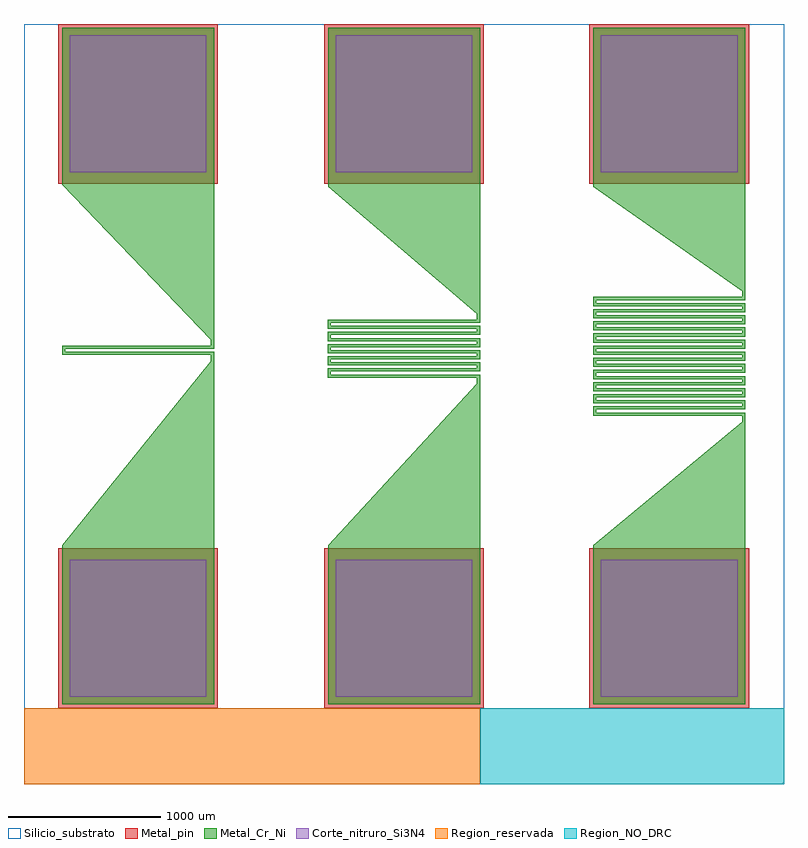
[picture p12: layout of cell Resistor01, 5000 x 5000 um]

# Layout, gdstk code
import gdstk
lib = gdstk.Library(unit=1e-6, precision=1e-06)
def R(c, l, rs):  # rectangles x0, y0, x1, y1
    for r in rs: c.add(gdstk.rectangle(r[:2], r[2:], *l))
def P(c, l, *ps):  # polygons
    for p in ps: c.add(gdstk.Polygon(p, *l))
Silicio_substrato = (1, 1)
Region_reservada = (1, 2)
Region_NO_DRC = (1, 3)
Metal_Cr_Ni = (2, 0)
Corte_nitruro_Si3N4 = (3, 0)
Metal_pin = (4, 0)

resistor01 = lib.new_cell('Resistor01')
R(resistor01, Silicio_substrato, [(0,0,5000,5000)])
R(resistor01, Region_reservada, [(0,0,3000,500)])
R(resistor01, Region_NO_DRC, [(3000,0,5000,500)])
P(resistor01, Metal_Cr_Ni, [(2000,525),(2000,1570),(2980,2633),(2980,2674),(1999,2674),(1999,2734),(2980,2734),(2980,2754),(1999,2754),(1999,2814),(2980,2814),(2980,2834),(1999,2834),(1999,2894),(2980,2894),(2980,2914),(1999,2914),(1999,2974),(2980,2974),(2980,2994),(1999,2994),(1999,3054),(2980,3054),(2980,3094),(2000,3930),(2000,4975),(3000,4975),(3000,3034),(2019,3034),(2019,3014),(3000,3014),(3000,2954),(2019,2954),(2019,2934),(3000,2934),(3000,2874),(2019,2874),(2019,2854),(3000,2854),(3000,2794),(2019,2794),(2019,2774),(3000,2774),(3000,2714),(2019,2714),(2019,2694),(3000,2694),(3000,525)],
  [(3745,525),(3745,1570),(4725,2384),(4725,2424),(3745,2424),(3745,2484),(4725,2484),(4725,2504),(3745,2504),(3745,2564),(4725,2564),(4725,2584),(3745,2584),(3745,2644),(4725,2644),(4725,2664),(3745,2664),(3745,2724),(4725,2724),(4725,2744),(3745,2744),(3745,2804),(4725,2804),(4725,2824),(3745,2824),(3745,2884),(4725,2884),(4725,2904),(3745,2904),(3745,2964),(4725,2964),(4725,2984),(3745,2984),(3745,3044),(4725,3044),(4725,3064),(3745,3064),(3745,3124),(4725,3124),(4725,3144),(3745,3144),(3745,3204),(4725,3204),(4725,3243),(3745,3930),(3745,4975),(4745,4975),(4745,3184),(3765,3184),(3765,3164),(4745,3164),(4745,3104),(3765,3104),(3765,3084),(4745,3084),(4745,3024),(3765,3024),(3765,3004),(4745,3004),(4745,2944),(3765,2944),(3765,2924),(4745,2924),(4745,2864),(3765,2864),(3765,2844),(4745,2844),(4745,2784),(3765,2784),(3765,2764),(4745,2764),(4745,2704),(3765,2704),(3765,2684),(4745,2684),(4745,2624),(3765,2624),(3765,2604),(4745,2604),(4745,2544),(3765,2544),(3765,2524),(4745,2524),(4745,2464),(3765,2464),(3765,2444),(4745,2444),(4745,525)],
  [(250,525),(250,1570),(1230,2782),(1230,2824),(250,2824),(250,2884),(1230,2884),(1230,2923),(250,3942),(250,4975),(1250,4975),(1250,2864),(270,2864),(270,2844),(1250,2844),(1250,525)])
R(resistor01, Corte_nitruro_Si3N4, [(300,575,1200,1475), (300,575,1200,1475), (2050,575,2950,1475), (2050,575,2950,1475), (3795,575,4695,1475), (3795,575,4695,1475), (300,4025,1200,4925), (300,4025,1200,4925), (2050,4025,2950,4925), (2050,4025,2950,4925), (3795,4025,4695,4925), (3795,4025,4695,4925)])
R(resistor01, Metal_pin, [(225,500,1275,1550), (225,500,1275,1550), (1975,500,3025,1550), (1975,500,3025,1550), (3720,500,4770,1550), (3720,500,4770,1550), (225,3950,1275,5000), (225,3950,1275,5000), (1975,3950,3025,5000), (1975,3950,3025,5000), (3720,3950,4770,5000), (3720,3950,4770,5000)])

lib.write_gds('Resistor01.gds')
